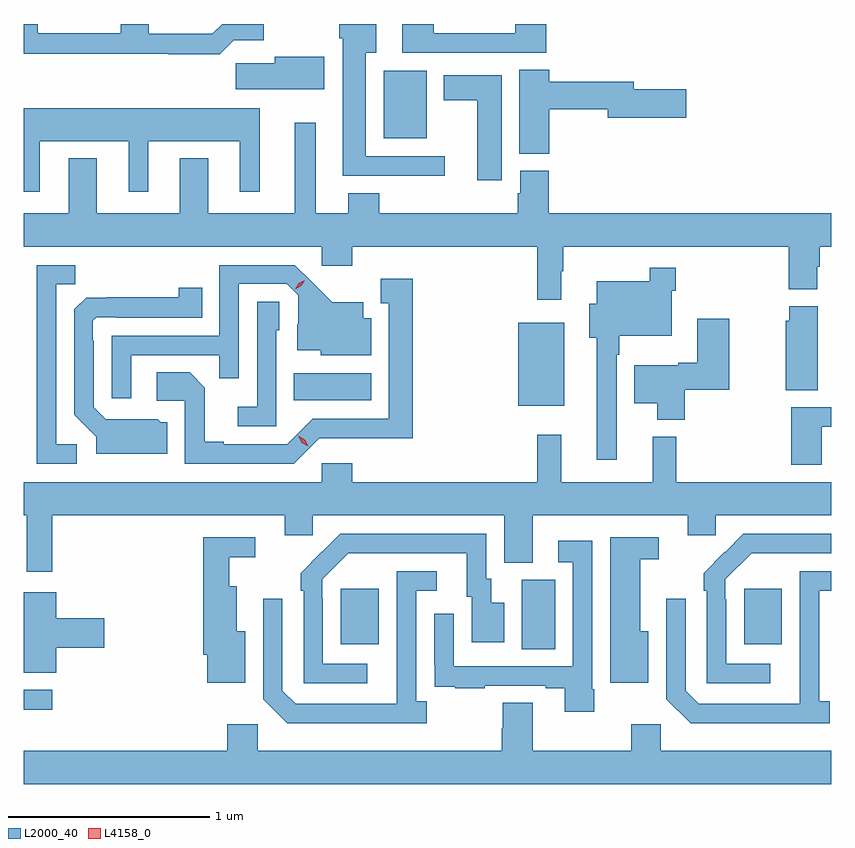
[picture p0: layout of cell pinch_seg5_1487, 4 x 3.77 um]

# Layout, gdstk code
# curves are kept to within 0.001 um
import gdstk
lib = gdstk.Library(unit=1e-6, precision=1e-09)
def R(c, l, rs):  # rectangles x0, y0, x1, y1
    for r in rs: c.add(gdstk.rectangle(r[:2], r[2:], *l))
def P(c, l, *ps):  # polygons
    for p in ps: c.add(gdstk.Polygon(p, *l))
L2000_40 = (2000, 40)
L4158_0 = (4158, 0)

pinch_seg5_1487 = lib.new_cell('pinch_seg5_1487')
R(pinch_seg5_1487, L2000_40, [(303.864,847.805,304.003,847.902), (306.332,848.104,306.496,848.448), (305.435,848.129,305.623,848.404), (307.433,848.129,307.621,848.404), (306.314,849.311,306.541,849.721), (305.2,849.338,305.584,849.472), (305.648,850.637,305.86,850.972)])
P(pinch_seg5_1487, L2000_40, [(306.452,851.203),(306.299,851.203),(306.299,851.157),(305.895,851.157),(305.895,851.203),(305.739,851.203),(305.739,851.061),(306.452,851.061)],
  [(304.904,851.123),(305.053,851.123),(305.053,851.203),(304.846,851.203),(304.797,851.154),(304.483,851.154),(304.483,851.203),(304.343,851.203),(304.343,851.157),(303.931,851.157),(303.931,851.203),(303.864,851.203),(303.864,851.056),(304.579,851.056),(304.579,851.054),(304.835,851.054)],
  [(305.95,850.548),(305.557,850.548),(305.557,851.06),(305.611,851.06),(305.611,851.203),(305.426,851.203),(305.426,851.133),(305.444,851.133),(305.444,850.451),(305.95,850.451)],
  [(305.353,851.041),(305.108,851.041),(305.108,851.009),(304.914,851.009),(304.914,850.88),(305.353,850.88)],
  [(306.467,850.78),(306.758,850.78),(306.758,850.738),(307.147,850.738),(307.147,850.88),(306.886,850.88),(306.886,850.916),(306.467,850.916),(306.467,850.976),(306.32,850.976),(306.32,850.561),(306.467,850.561)],
  [(306.232,850.948),(305.945,850.948),(305.945,850.826),(306.11,850.826),(306.11,850.428),(306.232,850.428)],
  [(303.943,850.622),(304.382,850.622),(304.382,850.371),(304.48,850.371),(304.48,850.622),(304.934,850.622),(304.934,850.371),(305.032,850.371),(305.032,850.786),(303.864,850.786),(303.864,850.371),(303.943,850.371)],
  [(306.323,850.365),(306.311,850.365),(306.311,850.264),(305.624,850.264),(305.624,850.363),(305.471,850.363),(305.471,850.264),(305.311,850.264),(305.311,850.714),(305.207,850.714),(305.207,850.264),(304.777,850.264),(304.777,850.537),(304.637,850.537),(304.637,850.264),(304.225,850.264),(304.225,850.537),(304.085,850.537),(304.085,850.264),(303.864,850.264),(303.864,850.1),(305.34,850.1),(305.34,850.005),(305.492,850.005),(305.492,850.1),(306.409,850.1),(306.409,849.837),(306.526,849.837),(306.526,849.977),(306.538,849.977),(306.538,850.1),(307.655,850.1),(307.655,849.889),(307.795,849.889),(307.795,849.999),(307.808,849.999),(307.808,850.1),(307.864,850.1),(307.864,850.264),(306.464,850.264),(306.464,850.476),(306.323,850.476)],
  [(304.395,849.561),(304.831,849.561),(304.831,849.448),(304.929,849.448),(304.929,849.915),(305.166,849.915),(305.223,849.858),(305.223,849.716),(305.219,849.716),(305.219,849.587),(305.334,849.587),(305.334,849.56),(305.584,849.56),(305.584,849.745),(305.545,849.745),(305.545,849.823),(305.393,849.823),(305.206,850.008),(304.833,850.008),(304.833,849.657),(304.299,849.657),(304.299,849.348),(304.395,849.348)],
  [(304.126,849.12),(304.023,849.12),(304.023,849.913),(304.119,849.913),(304.119,850.008),(303.927,850.008),(303.927,849.024),(304.126,849.024)],
  [(306.801,849.563),(306.814,849.563),(306.814,849.659),(307.074,849.659),(307.074,849.881),(307.094,849.881),(307.094,849.994),(306.966,849.994),(306.966,849.928),(306.704,849.928),(306.704,849.817),(306.665,849.817),(306.665,849.647),(306.704,849.647),(306.704,849.042),(306.801,849.042)],
  [(305.328,849.15),(305.791,849.149),(305.791,849.94),(305.633,849.94),(305.633,849.819),(305.672,849.819),(305.672,849.246),(305.295,849.246),(305.169,849.12),(304.855,849.12),(304.855,849.133),(304.761,849.133),(304.761,849.4),(304.685,849.476),(304.521,849.476),(304.521,849.336),(304.662,849.336),(304.662,849.024),(305.202,849.024)],
  [(304.573,849.228),(304.542,849.228),(304.526,849.244),(304.269,849.243),(304.209,849.303),(304.209,849.632),(304.206,849.632),(304.206,849.732),(304.224,849.75),(304.324,849.75),(304.324,849.747),(304.748,849.747),(304.748,849.895),(304.63,849.895),(304.63,849.848),(304.172,849.847),(304.113,849.788),(304.113,849.266),(304.223,849.156),(304.223,849.074),(304.573,849.074)],
  [(305.115,849.684),(305.13,849.684),(305.13,849.827),(305.019,849.827),(305.019,849.307),(304.923,849.307),(304.923,849.21),(305.115,849.21)],
  [(307.798,849.804),(307.657,849.804),(307.657,849.732),(307.64,849.732),(307.64,849.388),(307.798,849.388)],
  [(307.139,849.389),(307.36,849.389),(307.36,849.742),(307.202,849.742),(307.202,849.524),(307.106,849.524),(307.106,849.511),(306.89,849.511),(306.89,849.323),(307.004,849.323),(307.004,849.242),(307.139,849.242)],
  [(307.819,849.207),(307.864,849.207),(307.864,849.303),(307.667,849.303),(307.667,849.018),(307.819,849.018)],
  [(305.492,849.025),(305.34,849.025),(305.34,848.932),(303.864,848.932),(303.864,848.768),(303.878,848.768),(303.878,848.487),(304.004,848.487),(304.004,848.768),(305.156,848.768),(305.156,848.67),(305.295,848.67),(305.295,848.768),(306.245,848.768),(306.245,848.533),(306.385,848.533),(306.385,848.768),(307.154,848.768),(307.154,848.67),(307.293,848.67),(307.293,848.768),(307.864,848.768),(307.864,848.932),(307.097,848.932),(307.097,849.157),(306.98,849.157),(306.98,848.932),(306.527,848.932),(306.527,849.166),(306.409,849.166),(306.409,848.932),(305.492,848.932)],
  [(305.566,848.031),(305.346,848.031),(305.346,848.351),(305.343,848.351),(305.343,848.451),(305.472,848.58),(306.059,848.58),(306.059,848.364),(306.083,848.364),(306.083,848.139),(306.244,848.139),(306.244,848.335),(306.181,848.335),(306.181,848.454),(306.156,848.454),(306.156,848.676),(305.432,848.676),(305.235,848.481),(305.235,848.393),(305.25,848.393),(305.25,847.935),(305.566,847.935)],
  [(307.564,848.031),(307.344,848.031),(307.344,848.351),(307.341,848.351),(307.341,848.451),(307.47,848.58),(307.864,848.58),(307.864,848.676),(307.43,848.676),(307.233,848.481),(307.233,848.393),(307.248,848.393),(307.248,847.935),(307.564,847.935)],
  [(304.96,848.194),(304.918,848.194),(304.918,848.416),(304.882,848.416),(304.882,848.561),(305.011,848.561),(305.011,848.658),(304.753,848.658),(304.753,848.076),(304.772,848.076),(304.772,847.937),(304.96,847.937)],
  [(306.958,848.194),(306.919,848.194),(306.919,848.55),(307.009,848.55),(307.009,848.658),(306.77,848.658),(306.77,847.937),(306.958,847.937)],
  [(306.69,847.906),(306.681,847.906),(306.681,848.641),(306.513,848.641),(306.513,848.535),(306.585,848.535),(306.585,848.019),(305.994,848.019),(305.994,848.281),(305.898,848.281),(305.898,848.026),(305.899,848.026),(305.899,847.917),(306.001,847.917),(306.001,847.911),(306.149,847.911),(306.149,847.923),(306.449,847.923),(306.449,847.911),(306.545,847.911),(306.545,847.794),(306.69,847.794)],
  [(307.858,847.846),(307.806,847.846),(307.806,848.394),(307.864,848.394),(307.864,848.49),(307.71,848.49),(307.709,847.833),(307.209,847.833),(307.143,847.899),(307.143,848.353),(307.047,848.353),(307.047,847.857),(307.168,847.736),(307.858,847.736)],
  [(305.86,847.846),(305.808,847.846),(305.808,848.394),(305.911,848.394),(305.911,848.49),(305.712,848.49),(305.711,847.833),(305.211,847.833),(305.145,847.899),(305.145,848.353),(305.049,848.353),(305.049,847.857),(305.17,847.736),(305.86,847.736)],
  [(304.025,848.111),(304.261,848.111),(304.261,848.258),(304.025,848.258),(304.025,848.386),(303.864,848.386),(303.864,847.987),(304.025,847.987)],
  [(307.864,847.6),(307.02,847.6),(307.02,847.732),(306.874,847.732),(306.874,847.6),(306.385,847.6),(306.385,847.838),(306.238,847.838),(306.238,847.713),(306.233,847.713),(306.233,847.6),(305.022,847.6),(305.022,847.732),(304.871,847.732),(304.871,847.6),(303.864,847.6),(303.864,847.436),(307.864,847.436)])
P(pinch_seg5_1487, L4158_0, [(305.272,849.109),(305.241,849.128),(305.223,849.161),(305.223,849.161),(305.224,849.161),(305.255,849.142),(305.273,849.109),(305.273,849.109)],
  [(305.208,849.889),(305.208,849.889),(305.225,849.919),(305.256,849.934),(305.256,849.934),(305.256,849.934),(305.239,849.905),(305.209,849.889)])

lib.write_gds('pinch_seg5_1487.gds')
